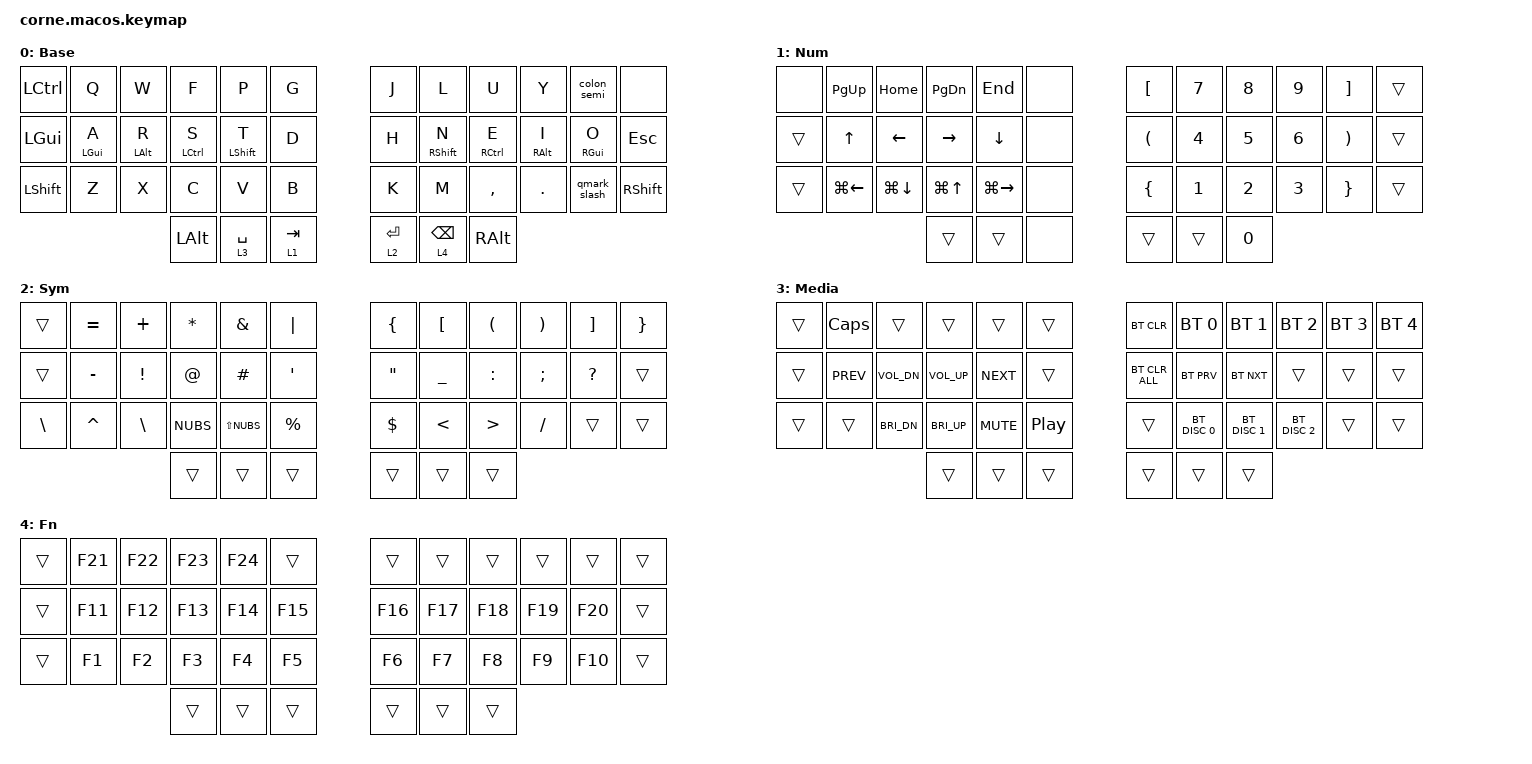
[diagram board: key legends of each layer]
/*
 * Corne Keymap - Konvertita de Vial
 * Layout: Colemak
 * Target: macos (GUI is primary, Ctrl is secondary)
 */

#include <behaviors.dtsi>
#include <dt-bindings/zmk/keys.h>
#include <dt-bindings/zmk/bt.h>

/ {
    behaviors {
        hm: homerow_mods {
            compatible = "zmk,behavior-hold-tap";
            #binding-cells = <2>;
            tapping-term-ms = <280>;
            quick-tap-ms = <175>;
            require-prior-idle-ms = <150>;
            flavor = "tap-preferred";
            bindings = <&kp>, <&kp>;
        };

        // ? default, / with shift
        qmark_slash: qmark_slash {
            compatible = "zmk,behavior-mod-morph";
            #binding-cells = <0>;
            bindings = <&kp QMARK>, <&kp FSLH>;
            mods = <(MOD_LSFT|MOD_RSFT)>;
        };

        // : default, ; with shift
        colon_semi: colon_semi {
            compatible = "zmk,behavior-mod-morph";
            #binding-cells = <0>;
            bindings = <&kp COLON>, <&kp SEMI>;
            mods = <(MOD_LSFT|MOD_RSFT)>;
        };
    };

    combos {
        compatible = "zmk,combos";

        // Brackets - home row adjacent keys
        combo_lbrc {
            timeout-ms = <50>;
            key-positions = <13 14>;  // A + R
            bindings = <&kp LBRC>;
        };
        combo_lbkt {
            timeout-ms = <50>;
            key-positions = <14 15>;  // R + S
            bindings = <&kp LBKT>;
        };
        combo_lpar {
            timeout-ms = <50>;
            key-positions = <15 16>;  // S + T
            bindings = <&kp LPAR>;
        };
        combo_rpar {
            timeout-ms = <50>;
            key-positions = <19 20>;  // N + E
            bindings = <&kp RPAR>;
        };
        combo_rbkt {
            timeout-ms = <50>;
            key-positions = <20 21>;  // E + I
            bindings = <&kp RBKT>;
        };
        combo_rbrc {
            timeout-ms = <50>;
            key-positions = <21 22>;  // I + O
            bindings = <&kp RBRC>;
        };

        // Utility combos
        combo_bootloader {
            timeout-ms = <50>;
            key-positions = <5 6>;    // G + J (inner index keys)
            bindings = <&bootloader>;
        };
        combo_caps_word {
            timeout-ms = <50>;
            key-positions = <16 19>;  // T + N (index fingers across split)
            bindings = <&caps_word>;
        };
        combo_delete {
            timeout-ms = <50>;
            key-positions = <1 2>;    // Q + W
            bindings = <&kp DEL>;
        };
        combo_caps_lock {
            timeout-ms = <50>;
            key-positions = <24 35>;  // LSHIFT + RSHIFT (outer pinky keys)
            bindings = <&kp CAPS>;
        };
    };

    keymap {
        compatible = "zmk,keymap";

        // Layer 0: Base (Colemak)
        // Homerow mods: A=GUI, R=ALT, S=CTRL, T=SHIFT (mirrored on right)
        base_layer {
            display-name = "Base";
            bindings = <
   &kp LCTRL  &kp Q  &kp W  &kp F  &kp P  &kp G      &kp J  &kp L  &kp U      &kp Y    &colon_semi  &none
   &kp LGUI   &hm LGUI A  &hm LALT R  &hm LCTRL S  &hm LSHFT T  &kp D      &kp H  &hm RSHFT N  &hm RCTRL E  &hm RALT I  &hm RGUI O  &kp ESC
   &kp LSHFT  &kp Z  &kp X  &kp C  &kp V  &kp B      &kp K  &kp M  &kp COMMA  &kp DOT  &qmark_slash  &kp RSHFT
                     &kp LALT  &lt 3 SPACE  &lt 1 TAB  &lt 2 RET  &lt 4 BSPC  &kp RALT
            >;
        };

        // Layer 1: Numbers + Navigation
        // Navigation uses LG for word-jumping (Cmd on Mac, Ctrl on Android/Linux)
        num_layer {
            display-name = "Num";
            bindings = <
   &none   &kp PG_UP     &kp HOME   &kp PG_DN  &kp END        &none       &kp LBKT   &kp N7  &kp N8  &kp N9  &kp RBKT   &trans
   &trans  &kp UP        &kp LEFT   &kp RIGHT  &kp DOWN       &none       &kp LPAR   &kp N4  &kp N5  &kp N6  &kp RPAR   &trans
   &trans  &kp LG(LEFT)  &kp LG(DOWN) &kp LG(UP) &kp LG(RIGHT) &none      &kp LBRC   &kp N1  &kp N2  &kp N3  &kp RBRC   &trans
                                    &trans     &trans         &none       &trans     &trans  &kp N0
            >;
        };

        // Layer 2: Symbols
        sym_layer {
            display-name = "Sym";
            bindings = <
   &trans  &kp EQUAL  &kp PLUS  &kp STAR  &kp AMPS  &kp PIPE     &kp LBRC  &kp LBKT  &kp LPAR  &kp RPAR  &kp RBKT  &kp RBRC
   &trans  &kp MINUS  &kp EXCL  &kp AT    &kp HASH  &kp SQT      &kp DQT   &kp UNDER &kp COLON &kp SEMI  &kp QMARK &trans
   &kp BSLH  &kp CARET  &kp BSLH  &kp NUBS &kp LS(NUBS) &kp PRCNT    &kp DLLR  &kp LT    &kp GT    &kp FSLH  &trans    &trans
                                &trans    &trans    &trans       &trans    &trans    &trans
            >;
        };

        // Layer 3: Media + Bluetooth
        media_layer {
            display-name = "Media";
            bindings = <
   &trans  &kp CAPS    &trans        &trans        &trans      &trans      &bt BT_CLR     &bt BT_SEL 0  &bt BT_SEL 1  &bt BT_SEL 2  &bt BT_SEL 3  &bt BT_SEL 4
   &trans  &kp C_PREV  &kp C_VOL_DN  &kp C_VOL_UP  &kp C_NEXT  &trans      &bt BT_CLR_ALL &bt BT_PRV    &bt BT_NXT    &trans        &trans        &trans
   &trans  &trans      &kp C_BRI_DN  &kp C_BRI_UP  &kp C_MUTE  &kp C_PP    &trans         &bt BT_DISC 0 &bt BT_DISC 1 &bt BT_DISC 2 &trans        &trans
                                     &trans        &trans      &trans      &trans         &trans        &trans
            >;
        };

        // Layer 4: Function Keys (F1-F24, bottom-left to top-right, cols 2-11)
        fn_layer {
            display-name = "Fn";
            bindings = <
   &trans   &kp F21  &kp F22  &kp F23  &kp F24  &trans       &trans   &trans   &trans   &trans   &trans   &trans
   &trans   &kp F11  &kp F12  &kp F13  &kp F14  &kp F15      &kp F16  &kp F17  &kp F18  &kp F19  &kp F20  &trans
   &trans   &kp F1   &kp F2   &kp F3   &kp F4   &kp F5       &kp F6   &kp F7   &kp F8   &kp F9   &kp F10  &trans
                              &trans   &trans   &trans       &trans   &trans   &trans
            >;
        };

        // Rezervita strati por futura uzo (5-9)
        extra5 { status = "reserved"; };
        extra6 { status = "reserved"; };
        extra7 { status = "reserved"; };
        extra8 { status = "reserved"; };
        extra9 { status = "reserved"; };
    };
};

// Caps word configuration - continues on underscore, minus, backspace, delete
&caps_word {
    continue-list = <UNDERSCORE MINUS BACKSPACE DELETE>;
};
